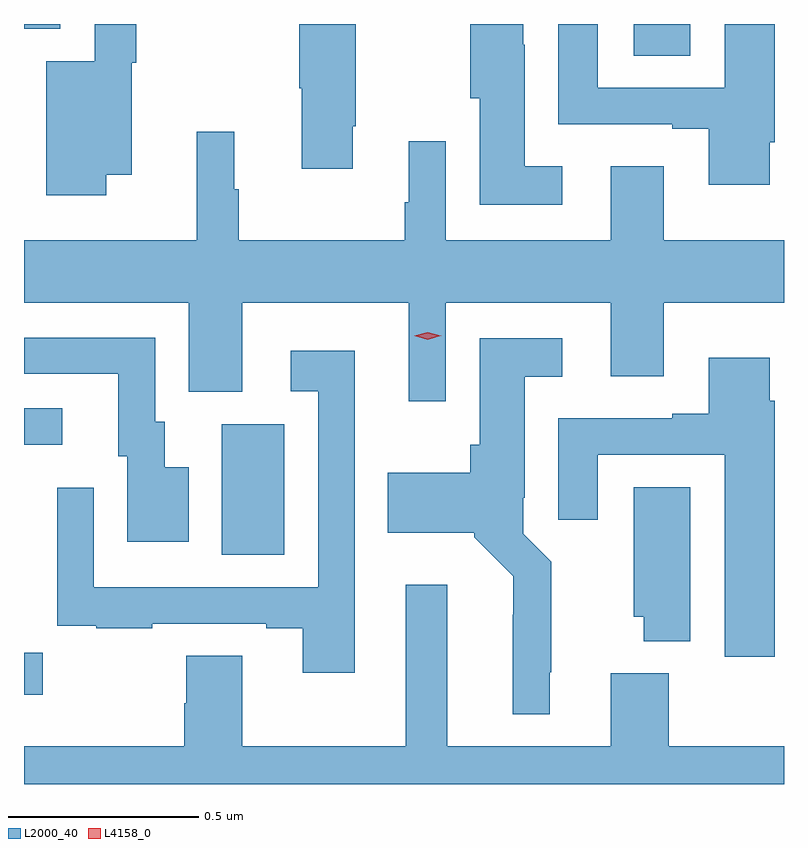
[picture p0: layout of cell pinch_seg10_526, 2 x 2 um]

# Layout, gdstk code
import gdstk
lib = gdstk.Library(unit=1e-6, precision=1e-09)
def R(c, l, rs):  # rectangles x0, y0, x1, y1
    for r in rs: c.add(gdstk.rectangle(r[:2], r[2:], *l))
def P(c, l, *ps):  # polygons
    for p in ps: c.add(gdstk.Polygon(p, *l))
L2000_40 = (2000, 40)
L4158_0 = (4158, 0)

pinch_seg10_526 = lib.new_cell('pinch_seg10_526')
R(pinch_seg10_526, L2000_40, [(206.133,1292.624,206.182,1292.734), (206.654,1292.992,206.818,1293.336), (206.133,1293.282,206.233,1293.378), (207.737,1294.306,207.886,1294.389), (206.133,1294.376,206.229,1294.389)])
P(pinch_seg10_526, L2000_40, [(207.55,1294.015),(207.451,1294.015),(207.451,1294.334),(207.447,1294.334),(207.447,1294.389),(207.307,1294.389),(207.307,1294.194),(207.332,1294.194),(207.332,1293.914),(207.55,1293.914)],
  [(206.998,1294.12),(207.006,1294.12),(207.006,1294.389),(206.857,1294.389),(206.857,1294.22),(206.864,1294.22),(206.864,1294.008),(206.998,1294.008)],
  [(206.35,1293.992),(206.416,1293.992),(206.416,1294.287),(206.428,1294.287),(206.428,1294.389),(206.319,1294.389),(206.319,1294.291),(206.192,1294.291),(206.192,1293.939),(206.35,1293.939)],
  [(208.096,1294.078),(208.109,1294.078),(208.109,1294.389),(207.977,1294.389),(207.977,1294.221),(207.643,1294.221),(207.643,1294.389),(207.539,1294.389),(207.539,1294.125),(207.839,1294.125),(207.839,1294.113),(207.935,1294.113),(207.935,1293.966),(208.096,1293.966)],
  [(207.243,1293.656),(207.677,1293.656),(207.677,1293.462),(207.817,1293.462),(207.817,1293.656),(208.133,1293.656),(208.133,1293.82),(207.817,1293.82),(207.817,1294.015),(207.677,1294.015),(207.677,1293.82),(207.243,1293.82),(207.243,1294.081),(207.146,1294.081),(207.146,1293.92),(207.135,1293.92),(207.135,1293.82),(206.698,1293.82),(206.698,1293.954),(206.686,1293.954),(206.686,1294.105),(206.587,1294.105),(206.587,1293.82),(206.133,1293.82),(206.133,1293.656),(206.567,1293.656),(206.567,1293.421),(206.707,1293.421),(206.707,1293.656),(207.146,1293.656),(207.146,1293.396),(207.243,1293.396)],
  [(206.566,1293.223),(206.503,1293.223),(206.503,1293.342),(206.478,1293.342),(206.478,1293.564),(206.133,1293.564),(206.133,1293.468),(206.381,1293.468),(206.381,1293.252),(206.405,1293.252),(206.405,1293.027),(206.566,1293.027)],
  [(207.517,1292.683),(207.521,1292.683),(207.521,1292.974),(207.447,1293.048),(207.447,1293.142),(207.451,1293.142),(207.451,1293.461),(207.55,1293.461),(207.55,1293.562),(207.332,1293.562),(207.332,1293.282),(207.307,1293.282),(207.307,1293.208),(207.09,1293.208),(207.09,1293.05),(207.318,1293.05),(207.318,1293.038),(207.42,1292.936),(207.42,1292.834),(207.419,1292.834),(207.419,1292.573),(207.517,1292.573)],
  [(207.004,1292.904),(207.003,1292.904),(207.003,1293.304),(207.004,1293.304),(207.004,1293.529),(206.835,1293.529),(206.835,1293.423),(206.907,1293.423),(206.907,1292.907),(206.316,1292.907),(206.316,1293.169),(206.22,1293.169),(206.22,1292.914),(206.221,1292.914),(206.221,1292.805),(206.323,1292.805),(206.323,1292.799),(206.471,1292.799),(206.471,1292.811),(206.771,1292.811),(206.771,1292.799),(206.867,1292.799),(206.867,1292.682),(207.004,1292.682)],
  [(208.109,1293.398),(208.096,1293.398),(208.096,1293.511),(207.935,1293.511),(207.935,1293.364),(207.839,1293.364),(207.839,1293.351),(207.539,1293.351),(207.539,1293.084),(207.643,1293.084),(207.643,1293.255),(207.977,1293.255),(207.977,1292.724),(208.109,1292.724)],
  [(207.886,1293.17),(207.737,1293.17),(207.737,1292.829),(207.764,1292.829),(207.764,1292.765),(207.886,1292.765)],
  [(208.133,1292.488),(207.83,1292.488),(207.83,1292.68),(207.677,1292.68),(207.677,1292.488),(207.247,1292.488),(207.247,1292.914),(207.137,1292.914),(207.137,1292.488),(206.707,1292.488),(206.707,1292.726),(206.56,1292.726),(206.56,1292.601),(206.555,1292.601),(206.555,1292.488),(206.133,1292.488),(206.133,1292.389),(208.133,1292.389)])
P(pinch_seg10_526, L4158_0, [(207.196,1293.558),(207.16,1293.568),(207.16,1293.568),(207.16,1293.569),(207.196,1293.578),(207.23,1293.569),(207.231,1293.568),(207.23,1293.568)])

lib.write_gds('pinch_seg10_526.gds')
